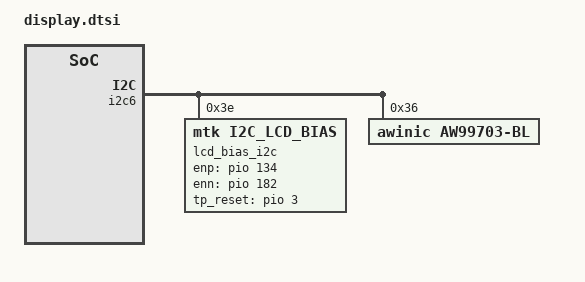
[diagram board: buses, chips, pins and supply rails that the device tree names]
/*display start*/
&i2c6 {
	status = "okay";
	lcd_bias_i2c@3e {
		compatible = "mtk,i2c_lcd_bias";
		reg = <0x3e>;
		mtk,enp = <&pio 134 0>;
		mtk,enn = <&pio 182 0>;
		mtk,tp_reset = <&pio 3 0>;
		pinctrl-names = "lcd_enn_default", "lcd_enn_output_high",
				"lcd_enn_output_low", "lcd_enp_default",
				"lcd_enp_output_high", "lcd_enp_output_low",
				"tp_reset_default", "tp_reset_output_high",
				"tp_reset_output_low";
		pinctrl-0 = <&bias_enn_default>;
		pinctrl-1 = <&bias_enn_output_high>;
		pinctrl-2 = <&bias_enn_output_low>;
		pinctrl-3 = <&bias_enp_default>;
		pinctrl-4 = <&bias_enp_output_high>;
		pinctrl-5 = <&bias_enp_output_low>;
		pinctrl-6 = <&tp_pins_reset_default>;
		pinctrl-7 = <&tp_pins_reset_output_high>;
		pinctrl-8 = <&tp_pins_reset_output_low>;
	};

	aw99703-bl@36 {
		compatible = "awinic,aw99703-bl";
		reg = <0x36>;
		/* brightness map level 1:256,2:1024,3:2048 */
		aw99703,bl-map = <3>;
		aw99703,using-lsb;
		aw99703,ovp-level = <2>; /* 38V(default) */
		aw99703,ocp-level = <1>; /* 2.7A(default) */
		aw99703,switch-freq = <1>; /* 1000kHz(default) */
		aw99703,auto-freq-high = <0x09>;
		aw99703,auto-freq-low = <0x05>;
		aw99703,bl-fscal-led = <0x15>; /* 20mA(default) */
		aw99703,bl-channel = <3>;
		aw99703,turn-on-ramp = <0x09>; /* 8ms(default) */
		aw99703,turn-off-ramp = <0x09>; /* 8ms(default) */
		aw99703,pwm-trans-dim = <0>; /* 2ms(default) */
		aw99703,i2c-trans-dim = <0x07>; /* 1us(default) */
		aw99703,pwm-mode = <1>; /* 0 pwm enable,1 PWM disable */
		aw99703,map-type = <1>; /* linear */
		aw99703,work-mode = <1>; /* backlight */
		aw99703,flash-timeout-time = <0x05>; /* 500ms(default) */
		aw99703,flash-current = <0x08>; /* 59.2mA(default) */
		aw99703,efuse-config = <0x1C 0x61 0x61 0x4C 0x2C 0xC0 0x08 0x00 0x01 0xC0 0x00 0x00 0x50>;

		status = "okay";
	};
};

&pio {
	bias_enn_default: enn_default {
	};

	bias_enn_output_high: enn_output_high {
	pins_cmd_dat {
		pinmux = <PINMUX_GPIO182__FUNC_GPIO182>;
			slew-rate = <1>;
			output-high;
		 };
	 };

	bias_enn_output_low: enn_output_low {
		pins_cmd_dat {
			pinmux = <PINMUX_GPIO182__FUNC_GPIO182>;
			slew-rate = <1>;
			output-low;
		};
	};

	bias_enp_default: enp_default {
	};

	bias_enp_output_high: enp_output_high {
		pins_cmd_dat {
			pinmux = <PINMUX_GPIO134__FUNC_GPIO134>;
			slew-rate = <1>;
			output-high;
		};
	};

	bias_enp_output_low: bias_enp_output_low {
		pins_cmd_dat {
			pinmux = <PINMUX_GPIO134__FUNC_GPIO134>;
			slew-rate = <1>;
			output-low;
		};
	};

	tp_pins_reset_default: reset_default {
	};

	tp_pins_reset_output_high: reset_output_high {
		pins_cmd_dat {
			pinmux = <PINMUX_GPIO3__FUNC_GPIO3>;
			slew-rate = <1>;
			output-high;
		};
	};

	tp_pins_reset_output_low: reset_output_low {
		pins_cmd_dat {
			pinmux = <PINMUX_GPIO3__FUNC_GPIO3>;
			slew-rate = <1>;
			output-low;
		};
	};
};

/*display end*/
